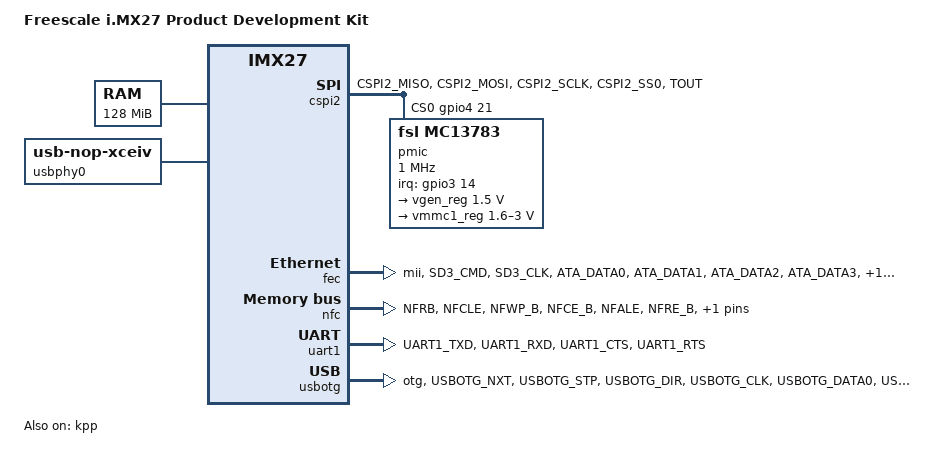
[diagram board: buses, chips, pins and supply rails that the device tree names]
// SPDX-License-Identifier: GPL-2.0+
//
// Copyright 2012 Sascha Hauer, Pengutronix

/dts-v1/;
#include "imx27.dtsi"

/ {
	model = "Freescale i.MX27 Product Development Kit";
	compatible = "fsl,imx27-pdk", "fsl,imx27";

	memory@a0000000 {
		device_type = "memory";
		reg = <0xa0000000 0x08000000>;
	};


	usbphy0: usbphy {
		compatible = "usb-nop-xceiv";
		clocks = <&clks IMX27_CLK_DUMMY>;
		clock-names = "main_clk";
		#phy-cells = <0>;
	};
};

&cspi2 {
	pinctrl-names = "default";
	pinctrl-0 = <&pinctrl_cspi2>;
	cs-gpios = <&gpio4 21 GPIO_ACTIVE_HIGH>;
	status = "okay";

	pmic: mc13783@0 {
		compatible = "fsl,mc13783";
		reg = <0>;
		spi-cs-high;
		spi-max-frequency = <1000000>;
		interrupt-parent = <&gpio3>;
		interrupts = <14 IRQ_TYPE_LEVEL_HIGH>;

		regulators {
			vgen_reg: vgen {
				regulator-min-microvolt = <1500000>;
				regulator-max-microvolt = <1500000>;
				regulator-always-on;
				regulator-boot-on;
			};

			vmmc1_reg: vmmc1 {
				regulator-min-microvolt = <1600000>;
				regulator-max-microvolt = <3000000>;
			};

			gpo1_reg: gpo1 {
				regulator-always-on;
				regulator-boot-on;
			};

			gpo3_reg: gpo3 {
				regulator-always-on;
				regulator-boot-on;
			};
		};
	};
};

&fec {
	phy-mode = "mii";
	pinctrl-names = "default";
	pinctrl-0 = <&pinctrl_fec>;
	status = "okay";
};

&kpp {
	linux,keymap = <
		MATRIX_KEY(0, 0, KEY_UP)
		MATRIX_KEY(0, 1, KEY_DOWN)
		MATRIX_KEY(1, 0, KEY_RIGHT)
		MATRIX_KEY(1, 1, KEY_LEFT)
		MATRIX_KEY(1, 2, KEY_ENTER)
		MATRIX_KEY(2, 0, KEY_F6)
		MATRIX_KEY(2, 1, KEY_F8)
		MATRIX_KEY(2, 2, KEY_F9)
		MATRIX_KEY(2, 3, KEY_F10)
	>;
	status = "okay";
};

&nfc {
	pinctrl-names = "default";
	pinctrl-0 = <&pinctrl_nand>;
	nand-ecc-mode = "hw";
	nand-on-flash-bbt;
	status = "okay";
};

&uart1 {
	uart-has-rtscts;
	pinctrl-names = "default";
	pinctrl-0 = <&pinctrl_uart1>;
	status = "okay";
};

&usbotg {
	pinctrl-names = "default";
	pinctrl-0 = <&pinctrl_usbotg>;
	dr_mode = "otg";
	fsl,usbphy = <&usbphy0>;
	phy_type = "ulpi";
	status = "okay";
};

&iomuxc {
	imx27-pdk {
		pinctrl_cspi2: cspi2grp {
			fsl,pins = <
				MX27_PAD_CSPI2_MISO__CSPI2_MISO 0x0
				MX27_PAD_CSPI2_MOSI__CSPI2_MOSI 0x0
				MX27_PAD_CSPI2_SCLK__CSPI2_SCLK 0x0
				MX27_PAD_CSPI2_SS0__GPIO4_21	0x0 /* SPI2 CS0 */
				MX27_PAD_TOUT__GPIO3_14		0x0 /* PMIC IRQ */
			>;
		};

		pinctrl_fec: fecgrp {
			fsl,pins = <
				MX27_PAD_SD3_CMD__FEC_TXD0 0x0
				MX27_PAD_SD3_CLK__FEC_TXD1 0x0
				MX27_PAD_ATA_DATA0__FEC_TXD2 0x0
				MX27_PAD_ATA_DATA1__FEC_TXD3 0x0
				MX27_PAD_ATA_DATA2__FEC_RX_ER 0x0
				MX27_PAD_ATA_DATA3__FEC_RXD1 0x0
				MX27_PAD_ATA_DATA4__FEC_RXD2 0x0
				MX27_PAD_ATA_DATA5__FEC_RXD3 0x0
				MX27_PAD_ATA_DATA6__FEC_MDIO 0x0
				MX27_PAD_ATA_DATA7__FEC_MDC 0x0
				MX27_PAD_ATA_DATA8__FEC_CRS 0x0
				MX27_PAD_ATA_DATA9__FEC_TX_CLK 0x0
				MX27_PAD_ATA_DATA10__FEC_RXD0 0x0
				MX27_PAD_ATA_DATA11__FEC_RX_DV 0x0
				MX27_PAD_ATA_DATA12__FEC_RX_CLK 0x0
				MX27_PAD_ATA_DATA13__FEC_COL 0x0
				MX27_PAD_ATA_DATA14__FEC_TX_ER 0x0
				MX27_PAD_ATA_DATA15__FEC_TX_EN 0x0
			>;
		};

		pinctrl_nand: nandgrp {
			fsl,pins = <
				MX27_PAD_NFRB__NFRB	0x0
				MX27_PAD_NFCLE__NFCLE	0x0
				MX27_PAD_NFWP_B__NFWP_B	0x0
				MX27_PAD_NFCE_B__NFCE_B	0x0
				MX27_PAD_NFALE__NFALE	0x0
				MX27_PAD_NFRE_B__NFRE_B	0x0
				MX27_PAD_NFWE_B__NFWE_B	0x0
			>;
		};

		pinctrl_uart1: uart1grp {
			fsl,pins = <
				MX27_PAD_UART1_TXD__UART1_TXD 0x0
				MX27_PAD_UART1_RXD__UART1_RXD 0x0
				MX27_PAD_UART1_CTS__UART1_CTS 0x0
				MX27_PAD_UART1_RTS__UART1_RTS 0x0
			>;
		};

		pinctrl_usbotg: usbotggrp {
			fsl,pins = <
				MX27_PAD_USBOTG_NXT__USBOTG_NXT 0x0
				MX27_PAD_USBOTG_STP__USBOTG_STP 0x0
				MX27_PAD_USBOTG_DIR__USBOTG_DIR 0x0
				MX27_PAD_USBOTG_CLK__USBOTG_CLK 0x0
				MX27_PAD_USBOTG_DATA0__USBOTG_DATA0 0x0
				MX27_PAD_USBOTG_DATA1__USBOTG_DATA1 0x0
				MX27_PAD_USBOTG_DATA2__USBOTG_DATA2 0x0
				MX27_PAD_USBOTG_DATA3__USBOTG_DATA3 0x0
				MX27_PAD_USBOTG_DATA4__USBOTG_DATA4 0x0
				MX27_PAD_USBOTG_DATA5__USBOTG_DATA5 0x0
				MX27_PAD_USBOTG_DATA6__USBOTG_DATA6 0x0
				MX27_PAD_USBOTG_DATA7__USBOTG_DATA7 0x0
			>;
		};
	};
};
